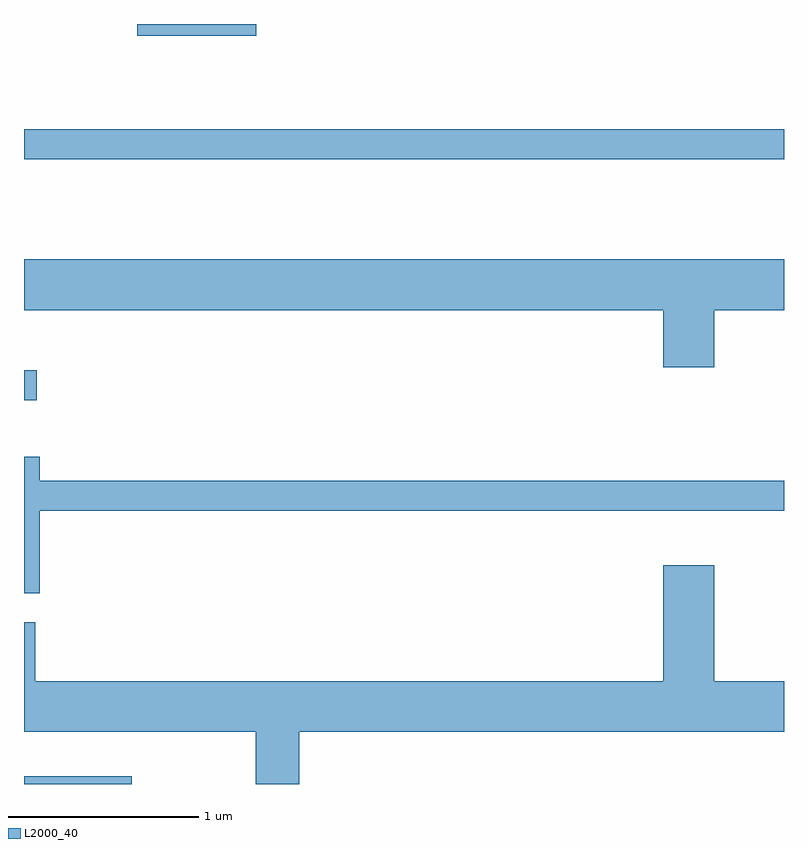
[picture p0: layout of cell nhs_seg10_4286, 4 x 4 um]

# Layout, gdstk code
import gdstk
lib = gdstk.Library(unit=1e-6, precision=1e-09)
def R(c, l, rs):  # rectangles x0, y0, x1, y1
    for r in rs: c.add(gdstk.rectangle(r[:2], r[2:], *l))
def P(c, l, *ps):  # polygons
    for p in ps: c.add(gdstk.Polygon(p, *l))
L2000_40 = (2000, 40)

nhs_seg10_4286 = lib.new_cell('nhs_seg10_4286')
R(nhs_seg10_4286, L2000_40, [(311.611,2122.522,312.178,2122.564), (311.611,2124.541,311.678,2124.699), (311.611,2125.811,315.611,2125.969), (312.206,2126.461,312.834,2126.522)])
P(nhs_seg10_4286, L2000_40, [(315.244,2125.016),(315.611,2125.016),(315.611,2125.284),(311.611,2125.284),(311.611,2125.016),(314.976,2125.016),(314.976,2124.716),(315.244,2124.716)],
  [(311.694,2123.961),(315.611,2123.961),(315.611,2124.119),(311.694,2124.119),(311.694,2124.244),(311.611,2124.244),(311.611,2123.526),(311.694,2123.526)],
  [(313.059,2122.796),(315.611,2122.796),(315.611,2123.064),(315.244,2123.064),(315.244,2123.674),(314.976,2123.674),(314.976,2123.064),(311.669,2123.064),(311.669,2123.374),(311.611,2123.374),(311.611,2122.796),(312.831,2122.796),(312.831,2122.522),(313.059,2122.522)])

lib.write_gds('nhs_seg10_4286.gds')
